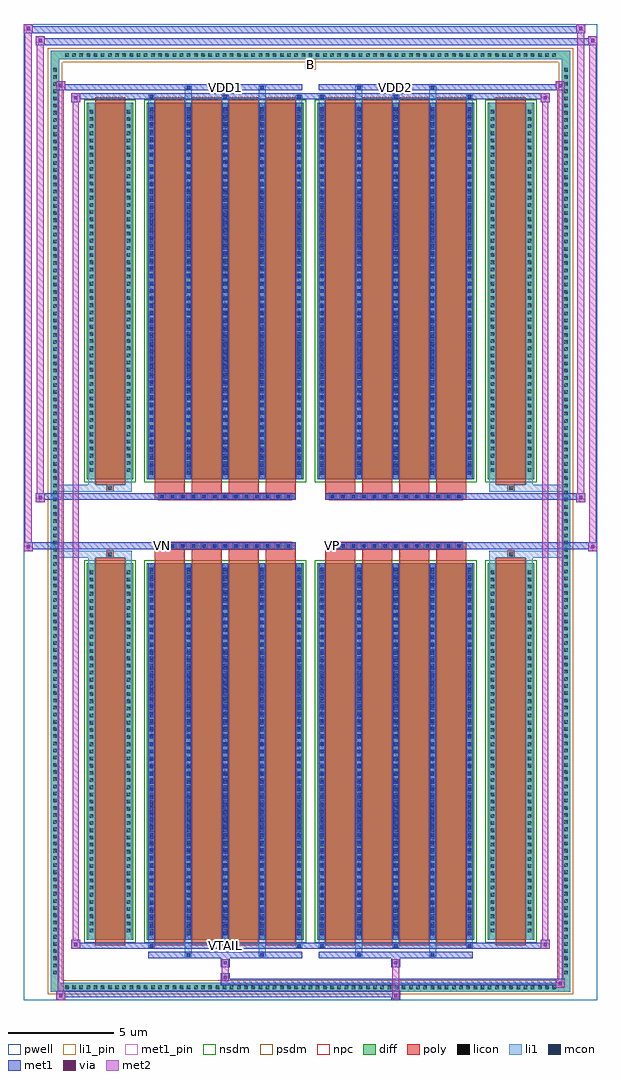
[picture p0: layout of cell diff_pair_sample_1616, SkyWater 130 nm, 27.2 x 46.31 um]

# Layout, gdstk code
import gdstk
lib = gdstk.Library(unit=1e-6, precision=5e-09)
def R(c, l, rs):  # rectangles x0, y0, x1, y1
    for r in rs: c.add(gdstk.rectangle(r[:2], r[2:], *l))
def A(c, l, x, y, w, h, nx, ny, dx, dy):  # array of equal rectangles
    R(c, l, [(x+i*dx, y+j*dy, x+i*dx+w, y+j*dy+h) for i in range(nx) for j in range(ny)])
def P(c, l, *ps):  # polygons
    for p in ps: c.add(gdstk.Polygon(p, *l))
pwell = (64, 44)
diff = (65, 20)
poly = (66, 20)
licon = (66, 44)
li1_pin = (67, 16)
li1 = (67, 20)
mcon = (67, 44)
met1_pin = (68, 16)
met1 = (68, 20)
via = (68, 44)
met2 = (69, 20)
nsdm = (93, 44)
psdm = (94, 20)
npc = (95, 20)

diff_pair_sample_1616 = lib.new_cell('diff_pair_sample_1616')
R(diff_pair_sample_1616, pwell, [(-13.6,-22.72,13.6,23.59), (-10.92,-20.91,-0.01,-0.805), (0.01,-20.91,10.92,-0.805), (-10.92,0.805,-0.01,20.91), (0.01,0.805,10.92,20.91)])
A(diff_pair_sample_1616, diff, -11.765, -22.32, 0.41, 0.41, 69, 2, 0.34, 44.23)
A(diff_pair_sample_1616, diff, -12.33, -21.625, 0.41, 0.41, 1, 127, 0, 0.34)
A(diff_pair_sample_1616, diff, 11.92, -21.625, 0.41, 0.41, 1, 127, 0, 0.34)
R(diff_pair_sample_1616, diff, [(-11.765,-22.32,11.765,-21.91), (-12.33,-21.625,-11.92,21.625), (11.92,-21.625,12.33,21.625), (-10.61,-19.865,-8.41,-1.985), (-7.77,-19.865,-0.32,-1.985), (0.32,-19.865,7.77,-1.985), (8.41,-19.865,10.61,-1.985), (-10.61,1.985,-8.41,19.865), (-7.77,1.985,-0.32,19.865), (0.32,1.985,7.77,19.865), (8.41,1.985,10.61,19.865), (-11.765,21.91,11.765,22.32)])
P(diff_pair_sample_1616, diff, [(12.33,22.32),(-12.33,22.32),(-12.33,-21.91),(-11.92,-21.91),(-11.92,21.91),(11.92,21.91),(11.92,-21.91),(-11.92,-21.91),(-12.33,-21.91),(-12.33,-22.32),(12.33,-22.32)])
A(diff_pair_sample_1616, poly, -7.38, -20.115, 1.42, 18.38, 4, 2, 1.75, 21.85)
A(diff_pair_sample_1616, poly, 0.71, -20.115, 1.42, 18.38, 4, 2, 1.75, 21.85)
A(diff_pair_sample_1616, poly, -7.38, -1.735, 1.42, 0.4, 4, 2, 1.75, 3.07)
A(diff_pair_sample_1616, poly, 0.71, -1.735, 1.42, 0.4, 4, 2, 1.75, 3.07)
A(diff_pair_sample_1616, poly, -7.21, -1.335, 0.33, 0.33, 13, 2, 0.5, 2.34)
A(diff_pair_sample_1616, poly, 0.88, -1.335, 0.33, 0.33, 13, 2, 0.5, 2.34)
R(diff_pair_sample_1616, poly, [(-10.22,-20.115,-8.8,-1.735), (8.8,-20.115,10.22,-1.735), (-9.675,-1.735,-9.345,-1.405), (-9.675,-1.735,-9.345,-1.405), (9.345,-1.735,9.675,-1.405), (9.345,-1.735,9.675,-1.405), (-7.38,-1.335,-0.71,-1.005), (0.71,-1.335,7.38,-1.005), (-7.38,1.005,-0.71,1.335), (0.71,1.005,7.38,1.335), (-9.675,1.405,-9.345,1.735), (-9.675,1.405,-9.345,1.735), (9.345,1.405,9.675,1.735), (9.345,1.405,9.675,1.735), (-10.22,1.735,-8.8,20.115), (8.8,1.735,10.22,20.115)])
A(diff_pair_sample_1616, licon, -11.645, -22.2, 0.17, 0.17, 69, 2, 0.34, 44.23)
A(diff_pair_sample_1616, licon, -12.21, -21.505, 0.17, 0.17, 1, 127, 0, 0.34)
A(diff_pair_sample_1616, licon, 12.04, -21.505, 0.17, 0.17, 1, 127, 0, 0.34)
A(diff_pair_sample_1616, licon, -10.47, -19.51, 0.17, 0.17, 1, 51, 0, 0.34)
A(diff_pair_sample_1616, licon, -8.72, -19.51, 0.17, 0.17, 1, 51, 0, 0.34)
A(diff_pair_sample_1616, licon, -7.63, -19.51, 0.17, 0.17, 5, 51, 1.75, 0.34)
A(diff_pair_sample_1616, licon, 0.46, -19.51, 0.17, 0.17, 5, 51, 1.75, 0.34)
A(diff_pair_sample_1616, licon, 8.55, -19.51, 0.17, 0.17, 1, 51, 0, 0.34)
A(diff_pair_sample_1616, licon, 10.3, -19.51, 0.17, 0.17, 1, 51, 0, 0.34)
A(diff_pair_sample_1616, licon, -7.13, -1.255, 0.17, 0.17, 13, 2, 0.5, 2.34)
A(diff_pair_sample_1616, licon, 0.96, -1.255, 0.17, 0.17, 13, 2, 0.5, 2.34)
A(diff_pair_sample_1616, licon, -10.47, 2.34, 0.17, 0.17, 1, 51, 0, 0.34)
A(diff_pair_sample_1616, licon, -8.72, 2.34, 0.17, 0.17, 1, 51, 0, 0.34)
A(diff_pair_sample_1616, licon, -7.63, 2.34, 0.17, 0.17, 5, 51, 1.75, 0.34)
A(diff_pair_sample_1616, licon, 0.46, 2.34, 0.17, 0.17, 5, 51, 1.75, 0.34)
A(diff_pair_sample_1616, licon, 8.55, 2.34, 0.17, 0.17, 1, 51, 0, 0.34)
A(diff_pair_sample_1616, licon, 10.3, 2.34, 0.17, 0.17, 1, 51, 0, 0.34)
R(diff_pair_sample_1616, licon, [(-9.595,-1.655,-9.425,-1.485), (9.425,-1.655,9.595,-1.485), (-9.595,1.485,-9.425,1.655), (9.425,1.485,9.595,1.655)])
R(diff_pair_sample_1616, li1_pin, [(-0.25,21.41,0.25,21.91)])
A(diff_pair_sample_1616, li1, -11.725, -22.28, 0.33, 0.33, 69, 2, 0.34, 44.23)
A(diff_pair_sample_1616, li1, -12.29, -21.585, 0.33, 0.33, 1, 127, 0, 0.34)
A(diff_pair_sample_1616, li1, 11.96, -21.585, 0.33, 0.33, 1, 127, 0, 0.34)
A(diff_pair_sample_1616, li1, -7.71, -20.24, 0.33, 0.375, 3, 2, 3.5, 40.105)
A(diff_pair_sample_1616, li1, -7.63, -20.24, 0.17, 0.17, 3, 2, 3.5, 40.31)
A(diff_pair_sample_1616, li1, 0.38, -20.24, 0.33, 0.375, 3, 2, 3.5, 40.105)
A(diff_pair_sample_1616, li1, 0.46, -20.24, 0.17, 0.17, 3, 2, 3.5, 40.31)
A(diff_pair_sample_1616, li1, -7.71, -19.865, 0.33, 17.88, 5, 2, 1.75, 21.85)
A(diff_pair_sample_1616, li1, 0.38, -19.865, 0.33, 17.88, 5, 2, 1.75, 21.85)
A(diff_pair_sample_1616, li1, -7.63, -19.65, 0.17, 0.17, 5, 49, 1.75, 0.36)
A(diff_pair_sample_1616, li1, -7.63, -19.65, 0.17, 17.45, 5, 2, 1.75, 21.85)
A(diff_pair_sample_1616, li1, 0.46, -19.65, 0.17, 0.17, 5, 49, 1.75, 0.36)
A(diff_pair_sample_1616, li1, 0.46, -19.65, 0.17, 17.45, 5, 2, 1.75, 21.85)
A(diff_pair_sample_1616, li1, -10.55, -19.59, 0.33, 0.33, 1, 51, 0, 0.34)
A(diff_pair_sample_1616, li1, -8.8, -19.59, 0.33, 0.33, 1, 51, 0, 0.34)
A(diff_pair_sample_1616, li1, -7.71, -19.59, 0.33, 0.33, 5, 51, 1.75, 0.34)
A(diff_pair_sample_1616, li1, 0.38, -19.59, 0.33, 0.33, 5, 51, 1.75, 0.34)
A(diff_pair_sample_1616, li1, 8.47, -19.59, 0.33, 0.33, 1, 51, 0, 0.34)
A(diff_pair_sample_1616, li1, 10.22, -19.59, 0.33, 0.33, 1, 51, 0, 0.34)
A(diff_pair_sample_1616, li1, -7.21, -1.335, 0.33, 0.33, 13, 2, 0.5, 2.34)
A(diff_pair_sample_1616, li1, 0.88, -1.335, 0.33, 0.33, 13, 2, 0.5, 2.34)
A(diff_pair_sample_1616, li1, -7.63, 2.2, 0.17, 0.17, 5, 49, 1.75, 0.36)
A(diff_pair_sample_1616, li1, 0.46, 2.2, 0.17, 0.17, 5, 49, 1.75, 0.36)
A(diff_pair_sample_1616, li1, -10.55, 2.26, 0.33, 0.33, 1, 51, 0, 0.34)
A(diff_pair_sample_1616, li1, -8.8, 2.26, 0.33, 0.33, 1, 51, 0, 0.34)
A(diff_pair_sample_1616, li1, -7.71, 2.26, 0.33, 0.33, 5, 51, 1.75, 0.34)
A(diff_pair_sample_1616, li1, 0.38, 2.26, 0.33, 0.33, 5, 51, 1.75, 0.34)
A(diff_pair_sample_1616, li1, 8.47, 2.26, 0.33, 0.33, 1, 51, 0, 0.34)
A(diff_pair_sample_1616, li1, 10.22, 2.26, 0.33, 0.33, 1, 51, 0, 0.34)
R(diff_pair_sample_1616, li1, [(-12.33,-22.32,-11.92,-21.91), (-12.33,-22.32,-11.92,-21.91), (-11.92,-22.32,11.92,-21.91), (11.92,-22.32,12.33,-21.91), (11.92,-22.32,12.33,-21.91), (-12.33,-21.91,-11.92,21.91), (11.92,-21.91,12.33,21.91), (-5.96,-20.67,-5.63,-19.865), (-5.88,-20.67,-5.71,-20.5), (-2.46,-20.67,-2.13,-19.865), (-2.38,-20.67,-2.21,-20.5), (2.13,-20.67,2.46,-19.865), (2.21,-20.67,2.38,-20.5), (5.63,-20.67,5.96,-19.865), (5.71,-20.67,5.88,-20.5), (-10.55,-19.865,-10.22,-1.985), (-8.8,-19.865,-8.47,-1.985), (8.47,-19.865,8.8,-1.985), (10.22,-19.865,10.55,-1.985), (-10.55,-1.985,-10.22,-1.405), (-8.8,-1.985,-8.47,-1.405), (8.47,-1.985,8.8,-1.405), (10.22,-1.985,10.55,-1.405), (-12.33,-1.735,-9.675,-1.405), (-10.55,-1.735,-9.675,-1.405), (-9.675,-1.735,-9.345,-1.405), (-9.345,-1.735,-8.47,-1.405), (8.47,-1.735,9.345,-1.405), (9.345,-1.735,9.675,-1.405), (9.345,-1.735,12.33,-1.405), (9.675,-1.735,10.55,-1.405), (-12.33,1.405,-9.675,1.735), (-10.55,1.405,-9.675,1.735), (-10.55,1.405,-10.22,1.985), (-9.675,1.405,-9.345,1.735), (-9.345,1.405,-8.47,1.735), (-8.8,1.405,-8.47,1.985), (8.47,1.405,9.345,1.735), (8.47,1.405,8.8,1.985), (9.345,1.405,9.675,1.735), (9.345,1.405,12.33,1.735), (9.675,1.405,10.55,1.735), (10.22,1.405,10.55,1.985), (-10.55,1.985,-10.22,19.865), (-8.8,1.985,-8.47,19.865), (8.47,1.985,8.8,19.865), (10.22,1.985,10.55,19.865), (-5.96,19.865,-5.63,20.67), (-2.46,19.865,-2.13,20.67), (2.13,19.865,2.46,20.67), (5.63,19.865,5.96,20.67), (-5.88,20.5,-5.71,20.67), (-2.38,20.5,-2.21,20.67), (2.21,20.5,2.38,20.67), (5.71,20.5,5.88,20.67), (-12.33,21.91,-11.92,22.32), (-12.33,21.91,-11.92,22.32), (-11.92,21.91,11.92,22.32), (11.92,21.91,12.33,22.32), (11.92,21.91,12.33,22.32)])
A(diff_pair_sample_1616, mcon, -7.63, -20.24, 0.17, 0.17, 3, 2, 3.5, 40.31)
A(diff_pair_sample_1616, mcon, 0.46, -20.24, 0.17, 0.17, 3, 2, 3.5, 40.31)
A(diff_pair_sample_1616, mcon, -7.63, -19.65, 0.17, 0.17, 5, 49, 1.75, 0.36)
A(diff_pair_sample_1616, mcon, 0.46, -19.65, 0.17, 0.17, 5, 49, 1.75, 0.36)
A(diff_pair_sample_1616, mcon, -7.13, -1.255, 0.17, 0.17, 13, 2, 0.5, 2.34)
A(diff_pair_sample_1616, mcon, 0.96, -1.255, 0.17, 0.17, 13, 2, 0.5, 2.34)
A(diff_pair_sample_1616, mcon, -7.63, 2.2, 0.17, 0.17, 5, 49, 1.75, 0.36)
A(diff_pair_sample_1616, mcon, 0.46, 2.2, 0.17, 0.17, 5, 49, 1.75, 0.36)
R(diff_pair_sample_1616, mcon, [(-5.88,-20.67,-5.71,-20.5), (-2.38,-20.67,-2.21,-20.5), (2.21,-20.67,2.38,-20.5), (5.71,-20.67,5.88,-20.5), (-5.88,20.5,-5.71,20.67), (-2.38,20.5,-2.21,20.67), (2.21,20.5,2.38,20.67), (5.71,20.5,5.88,20.67)])
R(diff_pair_sample_1616, met1_pin, [(-4.18,-20.28,-3.91,-20.01), (-7.18,-1.295,-6.91,-1.025), (0.91,-1.295,1.18,-1.025), (-4.18,20.46,-3.91,20.73), (3.91,20.46,4.18,20.73)])
A(diff_pair_sample_1616, met1, -7.69, -20.3, 0.29, 0.29, 3, 2, 3.5, 40.31)
A(diff_pair_sample_1616, met1, 0.4, -20.3, 0.29, 0.29, 3, 2, 3.5, 40.31)
A(diff_pair_sample_1616, met1, -7.69, -19.865, 0.29, 17.88, 5, 2, 1.75, 21.85)
A(diff_pair_sample_1616, met1, 0.4, -19.865, 0.29, 17.88, 5, 2, 1.75, 21.85)
A(diff_pair_sample_1616, met1, -7.69, -19.71, 0.29, 0.29, 5, 49, 1.75, 0.36)
A(diff_pair_sample_1616, met1, 0.4, -19.71, 0.29, 0.29, 5, 49, 1.75, 0.36)
A(diff_pair_sample_1616, met1, -7.19, -1.315, 0.29, 0.29, 13, 2, 0.5, 2.34)
A(diff_pair_sample_1616, met1, 0.9, -1.315, 0.29, 0.29, 13, 2, 0.5, 2.34)
A(diff_pair_sample_1616, met1, -7.69, 2.14, 0.29, 0.29, 5, 49, 1.75, 0.36)
A(diff_pair_sample_1616, met1, 0.4, 2.14, 0.29, 0.29, 5, 49, 1.75, 0.36)
R(diff_pair_sample_1616, met1, [(-12.06,-22.72,-11.63,-22.29), (3.83,-22.72,4.26,-22.29), (-12.06,-22.58,4.26,-22.29), (11.63,-22.15,12.06,-21.72), (-4.26,-22.01,12.06,-21.72), (-4.26,-21.87,-3.83,-21.44), (-4.26,-21.16,-3.83,-20.73), (3.83,-21.16,4.26,-20.73), (-7.69,-20.73,-0.4,-20.44), (-5.94,-20.73,-5.65,-20.44), (-2.44,-20.73,-2.15,-20.44), (0.4,-20.73,7.69,-20.44), (2.15,-20.73,2.44,-20.44), (5.65,-20.73,5.94,-20.44), (-11.35,-20.3,-10.92,-19.87), (-11.35,-20.3,-7.69,-20.01), (-7.69,-20.3,-0.4,-20.01), (-0.4,-20.3,0.4,-20.01), (0.4,-20.3,7.69,-20.01), (7.69,-20.3,11.35,-20.01), (10.92,-20.3,11.35,-19.87), (-13.6,-1.435,-13.17,-1.005), (13.17,-1.435,13.6,-1.005), (-13.6,-1.335,-0.71,-1.005), (-7.38,-1.335,-0.71,-1.005), (0.71,-1.335,7.38,-1.005), (0.71,-1.335,13.6,-1.005), (-13.03,0.905,-12.6,1.335), (12.6,0.905,13.03,1.335), (-13.03,1.005,-7.38,1.335), (-7.38,1.005,-0.71,1.335), (0.71,1.005,7.38,1.335), (7.38,1.005,13.03,1.335), (-11.35,19.87,-10.92,20.3), (10.92,19.87,11.35,20.3), (-11.35,20.01,-7.69,20.3), (-7.69,20.01,-0.4,20.3), (-0.4,20.01,0.4,20.3), (0.4,20.01,7.69,20.3), (7.69,20.01,11.35,20.3), (-12.06,20.44,-11.63,20.87), (-12.06,20.44,-7.69,20.73), (-7.69,20.44,-0.4,20.73), (-5.94,20.44,-5.65,20.73), (-2.44,20.44,-2.15,20.73), (0.4,20.44,7.69,20.73), (2.15,20.44,2.44,20.73), (5.65,20.44,5.94,20.73), (7.69,20.44,12.06,20.73), (11.63,20.44,12.06,20.87), (-13.03,22.59,-12.6,23.02), (-13.03,22.59,-10.92,22.92), (-10.92,22.59,10.92,22.92), (10.92,22.59,13.6,22.92), (13.17,22.59,13.6,23.02), (-13.6,23.16,-13.17,23.59), (-13.6,23.16,-10.92,23.49), (-10.92,23.16,10.92,23.49), (10.92,23.16,13.03,23.49), (12.6,23.16,13.03,23.59)])
R(diff_pair_sample_1616, via, [(-11.92,-22.58,-11.77,-22.43), (3.97,-22.58,4.12,-22.43), (11.77,-22.01,11.92,-21.86), (-4.12,-21.73,-3.97,-21.58), (-4.12,-21.02,-3.97,-20.87), (3.97,-21.02,4.12,-20.87), (-11.21,-20.16,-11.06,-20.01), (11.06,-20.16,11.21,-20.01), (-13.46,-1.295,-13.31,-1.145), (13.31,-1.295,13.46,-1.145), (-12.89,1.045,-12.74,1.195), (12.74,1.045,12.89,1.195), (-11.21,20.01,-11.06,20.16), (11.06,20.01,11.21,20.16), (-11.92,20.58,-11.77,20.73), (11.77,20.58,11.92,20.73), (-12.89,22.73,-12.74,22.88), (13.31,22.73,13.46,22.88), (-13.46,23.3,-13.31,23.45), (12.74,23.3,12.89,23.45)])
R(diff_pair_sample_1616, met2, [(-12.06,-22.72,-11.63,-22.29), (-11.99,-22.72,-11.7,20.87), (-11.7,-22.72,-11.63,-22.29), (-12.01,-22.67,-11.68,-22.34), (3.88,-22.67,4.21,-22.34), (3.88,-22.34,4.21,-21.11), (11.63,-22.15,12.06,-21.72), (11.7,-22.15,11.99,20.87), (11.99,-22.15,12.06,-21.72), (11.68,-22.1,12.01,-21.77), (-4.21,-21.82,-3.88,-21.49), (-4.21,-21.49,-3.88,-21.11), (-4.21,-21.11,-3.88,-20.78), (3.88,-21.11,4.21,-20.78), (-11.35,-20.3,-10.92,-19.87), (-11.28,-20.3,-10.99,20.3), (-10.99,-20.3,-10.92,-19.87), (10.92,-20.3,11.35,-19.87), (10.99,-20.3,11.28,20.3), (11.28,-20.3,11.35,-19.87), (-11.3,-20.25,-10.97,-19.92), (10.97,-20.25,11.3,-19.92), (-13.6,-1.435,-13.17,-1.005), (-13.55,-1.435,-13.22,23.59), (-13.22,-1.435,-13.17,-1.005), (13.17,-1.435,13.6,-1.005), (13.22,-1.435,13.55,23.02), (13.55,-1.435,13.6,-1.005), (-13.55,-1.385,-13.22,-1.055), (13.22,-1.385,13.55,-1.055), (-13.03,0.905,-12.6,1.335), (-12.98,0.905,-12.65,23.02), (-12.65,0.905,-12.6,1.335), (12.6,0.905,13.03,1.335), (12.65,0.905,12.98,23.59), (12.98,0.905,13.03,1.335), (-12.98,0.955,-12.65,1.285), (12.65,0.955,12.98,1.285), (-11.35,19.87,-10.92,20.3), (-10.99,19.87,-10.92,20.3), (10.92,19.87,11.35,20.3), (11.28,19.87,11.35,20.3), (-11.3,19.92,-10.97,20.25), (10.97,19.92,11.3,20.25), (-12.06,20.44,-11.63,20.87), (-11.7,20.44,-11.63,20.87), (11.63,20.44,12.06,20.87), (11.99,20.44,12.06,20.87), (-12.01,20.49,-11.68,20.82), (11.68,20.49,12.01,20.82), (-13.03,22.59,-12.6,23.02), (-12.65,22.59,-12.6,23.02), (13.17,22.59,13.6,23.02), (13.55,22.59,13.6,23.02), (-12.98,22.64,-12.65,22.97), (13.22,22.64,13.55,22.97), (-13.6,23.16,-13.17,23.59), (-13.22,23.16,-13.17,23.59), (12.6,23.16,13.03,23.59), (12.98,23.16,13.03,23.59), (-13.55,23.21,-13.22,23.54), (12.65,23.21,12.98,23.54)])
R(diff_pair_sample_1616, nsdm, [(-10.74,-19.995,-8.28,-1.855), (-7.9,-19.995,-0.19,-1.855), (0.19,-19.995,7.9,-1.855), (8.28,-19.995,10.74,-1.855), (-10.74,1.855,-8.28,19.995), (-7.9,1.855,-0.19,19.995), (0.19,1.855,7.9,19.995), (8.28,1.855,10.74,19.995)])
P(diff_pair_sample_1616, psdm, [(12.46,22.45),(-12.46,22.45),(-12.46,-21.78),(-11.79,-21.78),(-11.79,21.78),(11.79,21.78),(11.79,-21.78),(-11.79,-21.78),(-12.46,-21.78),(-12.46,-22.45),(12.46,-22.45)])
A(diff_pair_sample_1616, npc, -7.23, -1.355, 0.37, 0.37, 13, 2, 0.5, 2.34)
A(diff_pair_sample_1616, npc, 0.86, -1.355, 0.37, 0.37, 13, 2, 0.5, 2.34)
R(diff_pair_sample_1616, npc, [(-9.695,-1.755,-9.325,-1.385), (9.325,-1.755,9.695,-1.385), (-7.23,-1.355,-6.36,-0.985), (-7.23,-1.355,-6.36,-0.985), (-6.73,-1.355,-5.86,-0.985), (-6.73,-1.355,-5.86,-0.985), (-6.23,-1.355,-5.36,-0.985), (-6.23,-1.355,-5.36,-0.985), (-5.73,-1.355,-4.86,-0.985), (-5.73,-1.355,-4.86,-0.985), (-5.23,-1.355,-4.36,-0.985), (-5.23,-1.355,-4.36,-0.985), (-4.73,-1.355,-3.86,-0.985), (-4.73,-1.355,-3.86,-0.985), (-4.23,-1.355,-3.36,-0.985), (-4.23,-1.355,-3.36,-0.985), (-3.73,-1.355,-2.86,-0.985), (-3.73,-1.355,-2.86,-0.985), (-3.23,-1.355,-2.36,-0.985), (-3.23,-1.355,-2.36,-0.985), (-2.73,-1.355,-1.86,-0.985), (-2.73,-1.355,-1.86,-0.985), (-2.23,-1.355,-1.36,-0.985), (-2.23,-1.355,-1.36,-0.985), (-1.73,-1.355,-0.86,-0.985), (-1.73,-1.355,-0.86,-0.985), (0.86,-1.355,1.73,-0.985), (0.86,-1.355,1.73,-0.985), (1.36,-1.355,2.23,-0.985), (1.36,-1.355,2.23,-0.985), (1.86,-1.355,2.73,-0.985), (1.86,-1.355,2.73,-0.985), (2.36,-1.355,3.23,-0.985), (2.36,-1.355,3.23,-0.985), (2.86,-1.355,3.73,-0.985), (2.86,-1.355,3.73,-0.985), (3.36,-1.355,4.23,-0.985), (3.36,-1.355,4.23,-0.985), (3.86,-1.355,4.73,-0.985), (3.86,-1.355,4.73,-0.985), (4.36,-1.355,5.23,-0.985), (4.36,-1.355,5.23,-0.985), (4.86,-1.355,5.73,-0.985), (4.86,-1.355,5.73,-0.985), (5.36,-1.355,6.23,-0.985), (5.36,-1.355,6.23,-0.985), (5.86,-1.355,6.73,-0.985), (5.86,-1.355,6.73,-0.985), (6.36,-1.355,7.23,-0.985), (6.36,-1.355,7.23,-0.985), (-7.23,0.985,-6.36,1.355), (-7.23,0.985,-6.36,1.355), (-6.73,0.985,-5.86,1.355), (-6.73,0.985,-5.86,1.355), (-6.23,0.985,-5.36,1.355), (-6.23,0.985,-5.36,1.355), (-5.73,0.985,-4.86,1.355), (-5.73,0.985,-4.86,1.355), (-5.23,0.985,-4.36,1.355), (-5.23,0.985,-4.36,1.355), (-4.73,0.985,-3.86,1.355), (-4.73,0.985,-3.86,1.355), (-4.23,0.985,-3.36,1.355), (-4.23,0.985,-3.36,1.355), (-3.73,0.985,-2.86,1.355), (-3.73,0.985,-2.86,1.355), (-3.23,0.985,-2.36,1.355), (-3.23,0.985,-2.36,1.355), (-2.73,0.985,-1.86,1.355), (-2.73,0.985,-1.86,1.355), (-2.23,0.985,-1.36,1.355), (-2.23,0.985,-1.36,1.355), (-1.73,0.985,-0.86,1.355), (-1.73,0.985,-0.86,1.355), (0.86,0.985,1.73,1.355), (0.86,0.985,1.73,1.355), (1.36,0.985,2.23,1.355), (1.36,0.985,2.23,1.355), (1.86,0.985,2.73,1.355), (1.86,0.985,2.73,1.355), (2.36,0.985,3.23,1.355), (2.36,0.985,3.23,1.355), (2.86,0.985,3.73,1.355), (2.86,0.985,3.73,1.355), (3.36,0.985,4.23,1.355), (3.36,0.985,4.23,1.355), (3.86,0.985,4.73,1.355), (3.86,0.985,4.73,1.355), (4.36,0.985,5.23,1.355), (4.36,0.985,5.23,1.355), (4.86,0.985,5.73,1.355), (4.86,0.985,5.73,1.355), (5.36,0.985,6.23,1.355), (5.36,0.985,6.23,1.355), (5.86,0.985,6.73,1.355), (5.86,0.985,6.73,1.355), (6.36,0.985,7.23,1.355), (6.36,0.985,7.23,1.355), (-9.695,1.385,-9.325,1.755), (9.325,1.385,9.695,1.755)])
diff_pair_sample_1616.add(gdstk.Label('VTAIL', (-4.045,-20.145), layer=68, texttype=5))
diff_pair_sample_1616.add(gdstk.Label('VN', (-7.045,-1.16), layer=68, texttype=5))
diff_pair_sample_1616.add(gdstk.Label('VP', (1.045,-1.16), layer=68, texttype=5))
diff_pair_sample_1616.add(gdstk.Label('B', (0,21.66), layer=67, texttype=5))
diff_pair_sample_1616.add(gdstk.Label('VDD2', (4.045,20.595), layer=68, texttype=5))
diff_pair_sample_1616.add(gdstk.Label('VDD1', (-4.045,20.595), layer=68, texttype=5))

lib.write_gds('diff_pair_sample_1616.gds')
